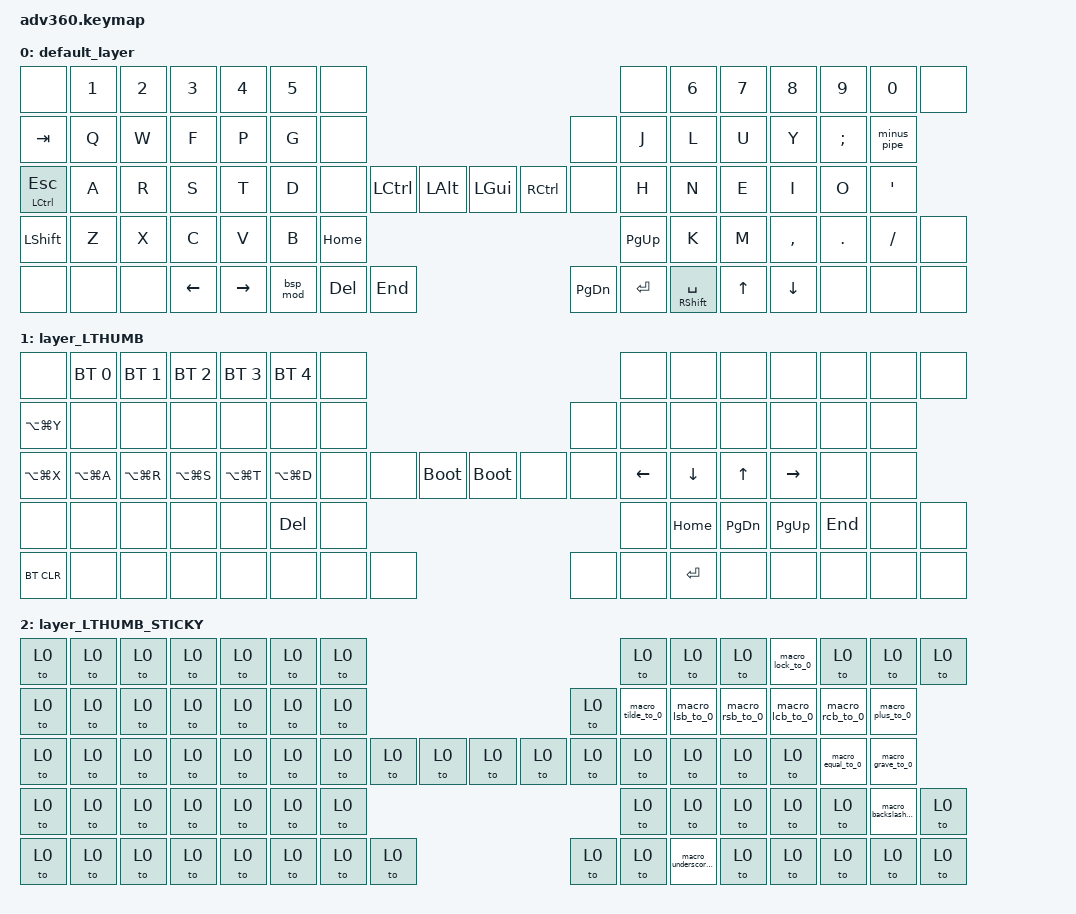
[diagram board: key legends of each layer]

/*
 * Copyright (c) 2020 The ZMK Contributors
 *
 * SPDX-License-Identifier: MIT
 */


/* THIS FILE WAS GENERATED!
 *
 * This file was generated automatically. You may or may not want to
 * edit it directly.
 */

#include <behaviors.dtsi>
#include <dt-bindings/zmk/keys.h>
#include <dt-bindings/zmk/bt.h>

/ {
  behaviors {
    #include "macros.dtsi"
    #include "custom.dtsi"

    hm: homerow_mods {
        compatible = "zmk,behavior-hold-tap";
        label = "HOMEROW_MODS";
        #binding-cells = <2>;
        tapping-term-ms = <200>;
        quick_tap_ms = <175>;
        flavor = "tap-preferred";
        bindings = <&kp>, <&kp>;
    };
  };

    keymap {
        compatible = "zmk,keymap";


        default_layer {
            bindings = <
         &none  &kp N1  &kp N2    &kp N3     &kp N4  &kp N5               &none                                                                        &none  &kp N6  &kp N7     &kp N8   &kp N9    &kp N0        &none
       &kp TAB   &kp Q   &kp W     &kp F      &kp P   &kp G               &none                                                                        &none   &kp J   &kp L      &kp U    &kp Y  &kp SEMI  &minus_pipe
 &mt LCTRL ESC   &kp A   &kp R     &kp S      &kp T   &kp D               &none  &kp LCTRL  &kp LALT                   &kp LGUI  &kp RCTRL             &none   &kp H   &kp N      &kp E    &kp I     &kp O      &kp SQT
     &kp LSHFT   &kp Z   &kp X     &kp C      &kp V   &kp B                                 &kp HOME                  &kp PG_UP                                &kp K   &kp M  &kp COMMA  &kp DOT  &kp FSLH        &none
         &none   &none   &none  &kp LEFT  &kp RIGHT                    &bsp_mod    &kp DEL   &kp END                  &kp PG_DN  &kp ENTER  &mt RSHIFT SPACE          &kp UP   &kp DOWN    &none     &none        &none
            >;
        };

        layer_LTHUMB {
            bindings = <
         &none   &bt BT_SEL 0   &bt BT_SEL 1   &bt BT_SEL 2   &bt BT_SEL 3   &bt BT_SEL 4            &none                                                                &none     &none          &none      &none      &none   &none   &none
 &kp LA(LG(Y))          &none          &none          &none          &none          &none            &none                                                                &none     &none          &none      &none      &none   &none   &none
 &kp LA(LG(X))  &kp LA(LG(A))  &kp LA(LG(R))  &kp LA(LG(S))  &kp LA(LG(T))  &kp LA(LG(D))            &none   &none  &bootloader                  &bootloader   &none      &none  &kp LEFT       &kp DOWN     &kp UP  &kp RIGHT   &none   &none
         &none          &none          &none          &none          &none     &kp DELETE                                 &none                        &none                     &kp HOME  &kp PAGE_DOWN  &kp PG_UP    &kp END   &none   &none
    &bt BT_CLR          &none          &none          &none          &none                           &none   &none        &none                        &none   &none  &kp ENTER                    &none      &none      &none   &none   &none
            >;
        };

        layer_LTHUMB_STICKY {
            bindings = <
  &to 0   &to 0   &to 0   &to 0   &to 0   &to 0            &to 0                                                                   &to 0              &to 0            &to 0  &macro_lock_to_0            &to 0                  &to 0              &to 0
  &to 0   &to 0   &to 0   &to 0   &to 0   &to 0            &to 0                                                                   &to 0  &macro_tilde_to_0  &macro_lsb_to_0   &macro_rsb_to_0  &macro_lcb_to_0        &macro_rcb_to_0   &macro_plus_to_0
  &to 0   &to 0   &to 0   &to 0   &to 0   &to 0            &to 0   &to 0   &to 0                   &to 0   &to 0                   &to 0              &to 0            &to 0             &to 0            &to 0      &macro_equal_to_0  &macro_grave_to_0
  &to 0   &to 0   &to 0   &to 0   &to 0   &to 0                            &to 0                   &to 0                                              &to 0            &to 0             &to 0            &to 0  &macro_backslash_to_0              &to 0
  &to 0   &to 0   &to 0   &to 0   &to 0                    &to 0   &to 0   &to 0                   &to 0   &to 0  &macro_underscore_to_0                               &to 0             &to 0            &to 0                  &to 0              &to 0
            >;
        };

    };
};
